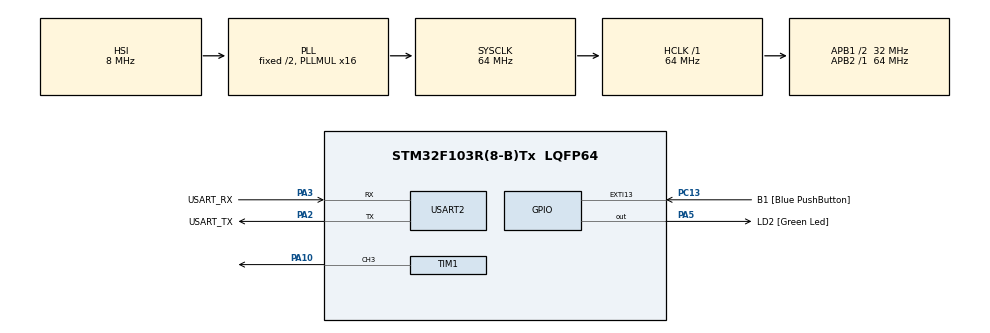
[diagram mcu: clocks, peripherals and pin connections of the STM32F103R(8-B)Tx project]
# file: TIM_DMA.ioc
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Dma.Request0=TIM1_CH3
Dma.TIM1_CH3.0.Direction=DMA_MEMORY_TO_PERIPH
Dma.TIM1_CH3.0.Instance=DMA1_Channel6
Dma.TIM1_CH3.0.MemDataAlignment=DMA_MDATAALIGN_WORD
Dma.TIM1_CH3.0.MemInc=DMA_MINC_ENABLE
Dma.TIM1_CH3.0.Mode=DMA_CIRCULAR
Dma.TIM1_CH3.0.PeriphDataAlignment=DMA_PDATAALIGN_WORD
Dma.TIM1_CH3.0.PeriphInc=DMA_PINC_DISABLE
Dma.TIM1_CH3.0.Priority=DMA_PRIORITY_HIGH
Mcu.Family=STM32F1
Mcu.Name=STM32F103R(8-B)Tx
Mcu.Package=LQFP64
NVIC.DMA1_Channel6_IRQn=true\:0\:0\:false\:false\:true\:false\:true\:true
NVIC.EXTI15_10_IRQn=true\:0\:0\:false\:false\:true\:true\:true\:true
NVIC.PriorityGroup=NVIC_PRIORITYGROUP_4
PA10.Signal=S_TIM1_CH3
PA13.GPIO_Label=TMS
PA13.Mode=Serial_Wire
PA13.Signal=SYS_JTMS-SWDIO
PA14.GPIO_Label=TCK
PA14.Mode=Serial_Wire
PA14.Signal=SYS_JTCK-SWCLK
PA2.GPIO_Label=USART_TX
PA2.GPIO_Mode=GPIO_MODE_AF_PP
PA2.GPIO_PuPd=GPIO_NOPULL
PA2.GPIO_Speed=GPIO_SPEED_FREQ_LOW
PA2.Mode=Asynchronous
PA2.Signal=USART2_TX
PA3.GPIO_Label=USART_RX
PA3.GPIO_Mode=GPIO_MODE_AF_PP
PA3.GPIO_PuPd=GPIO_NOPULL
PA3.GPIO_Speed=GPIO_SPEED_FREQ_LOW
PA3.Mode=Asynchronous
PA3.Signal=USART2_RX
PA5.GPIO_Label=LD2 [Green Led]
PA5.GPIO_ModeDefaultOutputPP=GPIO_MODE_OUTPUT_PP
PA5.GPIO_PuPd=GPIO_NOPULL
PA5.GPIO_Speed=GPIO_SPEED_FREQ_LOW
PA5.Signal=GPIO_Output
PB3.GPIO_Label=SWO
PB3.Signal=SYS_JTDO-TRACESWO
PC13-TAMPER-RTC.GPIO_Label=B1 [Blue PushButton]
PC13-TAMPER-RTC.GPIO_PuPd=GPIO_NOPULL
PC13-TAMPER-RTC.Signal=GPXTI13
PC14-OSC32_IN.Mode=LSE-External-Oscillator
PC14-OSC32_IN.Signal=RCC_OSC32_IN
PC15-OSC32_OUT.Mode=LSE-External-Oscillator
PC15-OSC32_OUT.Signal=RCC_OSC32_OUT
PD0-OSC_IN.Mode=HSE-External-Clock-Source
PD0-OSC_IN.Signal=RCC_OSC_IN
PD1-OSC_OUT.Mode=HSE-External-Clock-Source
PD1-OSC_OUT.Signal=RCC_OSC_OUT
ProjectManager.HeapSize=0x200
ProjectManager.StackSize=0x400
ProjectManager.TargetToolchain=STM32CubeIDE
RCC.AHBFreq_Value=64000000
RCC.APB1CLKDivider=RCC_HCLK_DIV2
RCC.APB1Freq_Value=32000000
RCC.APB1TimFreq_Value=64000000
RCC.APB2Freq_Value=64000000
RCC.APB2TimFreq_Value=64000000
RCC.HCLKFreq_Value=64000000
RCC.PLLMUL=RCC_PLL_MUL16
RCC.RTCClockSelection=RCC_RTCCLKSOURCE_LSE
RCC.SYSCLKFreq_VALUE=64000000
RCC.SYSCLKSource=RCC_SYSCLKSOURCE_PLLCLK
RCC.USBFreq_Value=64000000
SH.S_TIM1_CH3.0=TIM1_CH3,PWM Generation3 CH3
TIM1.AutoReloadPreload=TIM_AUTORELOAD_PRELOAD_DISABLE
TIM1.Channel-PWM\ Generation3\ CH3=TIM_CHANNEL_3
TIM1.OC3Preload_PWM=DISABLE
TIM1.Period=3641
TIM1.Pulse-PWM\ Generation3\ CH3=2730
TIM1.RepetitionCounter=3
USART2.VirtualMode=VM_ASYNC
VP_TIM1_VS_ClockSourceINT.Mode=Internal
board=NUCLEO-F103RB

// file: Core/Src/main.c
/* USER CODE BEGIN Header */
/**
  ******************************************************************************
  * @file           : main.c
  * @brief          : Main program body
  ******************************************************************************
  * @attention
  *
  * Copyright (c) 2022 STMicroelectronics.
  * All rights reserved.
  *
  * This software is licensed under terms that can be found in the LICENSE file
  * in the root directory of this software component.
  * If no LICENSE file comes with this software, it is provided AS-IS.
  *
  ******************************************************************************
  */
/* USER CODE END Header */
#include "main.h"

/* USER CODE BEGIN Includes */
#include <stdio.h>
/* USER CODE END Includes */

TIM_HandleTypeDef htim1;
DMA_HandleTypeDef hdma_tim1_ch3;

UART_HandleTypeDef huart2;

/* USER CODE BEGIN PV */
/* Capture Compare buffer */
uint32_t aCCValue_Buffer[3] = {0, 0, 0};

/* Timer Period*/
uint32_t uwTimerPeriod  = 0;
/* USER CODE END PV */

void SystemClock_Config(void);
static void MX_GPIO_Init(void);
static void MX_DMA_Init(void);
static void MX_USART2_UART_Init(void);
static void MX_TIM1_Init(void);

/* USER CODE BEGIN 0 */
#ifdef __GNUC__
#define PUTCHAR_PROTOTYPE int __io_putchar(int ch)
#else
#define PUTCHAR_PROTOTYPE int fputc(int ch, FILE *f)
#endif /* __GNUC__ */

/**
* @brief  Retargets the C library printf function to the USART.
* @param  None
* @retval None
*/
PUTCHAR_PROTOTYPE
{
  /* Place your implementation of fputc here */
  /* e.g. write a character to the UART2 and Loop until the end of transmission */
  if (ch == '\n')
    HAL_UART_Transmit (&huart2, (uint8_t *) "\r", 1, 0xFFFF);

  HAL_UART_Transmit (&huart2, (uint8_t *) & ch, 1, 0xFFFF);

  return ch;
}
/* USER CODE END 0 */

int main(void)
{

  /* MCU Configuration--------------------------------------------------------*/

  /* Reset of all peripherals, Initializes the Flash interface and the Systick. */
  HAL_Init();

  /* Configure the system clock */
  SystemClock_Config();

  /* Initialize all configured peripherals */
  MX_GPIO_Init();
  MX_DMA_Init();
  MX_USART2_UART_Init();
  MX_TIM1_Init();
  /* USER CODE BEGIN 2 */
  /* Compute the value of ARR regiter to generate signal frequency at 17.57 Khz */
  uwTimerPeriod = (uint32_t)((SystemCoreClock / 17570) - 1);
  printf("TimerPeriod=%ld\n", uwTimerPeriod);
  /* Compute CCR1 value to generate a duty cycle at 75% */
  aCCValue_Buffer[0] = (uint32_t)(((uint32_t) 75 * (uwTimerPeriod - 1)) / 100);
  printf("aCCValue_Buffer=%ld\n", aCCValue_Buffer[0]);
  /* Compute CCR2 value to generate a duty cycle at 50% */
  aCCValue_Buffer[1] = (uint32_t)(((uint32_t) 50 * (uwTimerPeriod - 1)) / 100);
  /* Compute CCR3 value to generate a duty cycle at 25% */
  aCCValue_Buffer[2] = (uint32_t)(((uint32_t) 25 * (uwTimerPeriod - 1)) / 100);

  /*##-3- Start PWM signal generation in DMA mode ############################*/
  if (HAL_TIM_PWM_Start_DMA(&htim1, TIM_CHANNEL_3, aCCValue_Buffer, 3) != HAL_OK)
  {
    /* Starting Error */
    Error_Handler();
  }
  /* USER CODE END 2 */

  /* Infinite loop */
  /* USER CODE BEGIN WHILE */
  while (1)
  {
    HAL_GPIO_TogglePin(LD2_GPIO_Port, LD2_Pin);
    HAL_Delay(100);

    /* USER CODE END WHILE */

  }
}

void SystemClock_Config(void)
{
  RCC_OscInitTypeDef RCC_OscInitStruct = {0};
  RCC_ClkInitTypeDef RCC_ClkInitStruct = {0};

  /** Initializes the RCC Oscillators according to the specified parameters
  * in the RCC_OscInitTypeDef structure.
  */
  RCC_OscInitStruct.OscillatorType = RCC_OSCILLATORTYPE_HSI;
  RCC_OscInitStruct.HSIState = RCC_HSI_ON;
  RCC_OscInitStruct.HSICalibrationValue = RCC_HSICALIBRATION_DEFAULT;
  RCC_OscInitStruct.PLL.PLLState = RCC_PLL_ON;
  RCC_OscInitStruct.PLL.PLLSource = RCC_PLLSOURCE_HSI_DIV2;
  RCC_OscInitStruct.PLL.PLLMUL = RCC_PLL_MUL16;
  if (HAL_RCC_OscConfig(&RCC_OscInitStruct) != HAL_OK)
  {
    Error_Handler();
  }

  /** Initializes the CPU, AHB and APB buses clocks
  */
  RCC_ClkInitStruct.ClockType = RCC_CLOCKTYPE_HCLK|RCC_CLOCKTYPE_SYSCLK
                              |RCC_CLOCKTYPE_PCLK1|RCC_CLOCKTYPE_PCLK2;
  RCC_ClkInitStruct.SYSCLKSource = RCC_SYSCLKSOURCE_PLLCLK;
  RCC_ClkInitStruct.AHBCLKDivider = RCC_SYSCLK_DIV1;
  RCC_ClkInitStruct.APB1CLKDivider = RCC_HCLK_DIV2;
  RCC_ClkInitStruct.APB2CLKDivider = RCC_HCLK_DIV1;

  if (HAL_RCC_ClockConfig(&RCC_ClkInitStruct, FLASH_LATENCY_2) != HAL_OK)
  {
    Error_Handler();
  }
}

static void MX_TIM1_Init(void)
{

  TIM_ClockConfigTypeDef sClockSourceConfig = {0};
  TIM_MasterConfigTypeDef sMasterConfig = {0};
  TIM_OC_InitTypeDef sConfigOC = {0};
  TIM_BreakDeadTimeConfigTypeDef sBreakDeadTimeConfig = {0};

  htim1.Instance = TIM1;
  htim1.Init.Prescaler = 0;
  htim1.Init.CounterMode = TIM_COUNTERMODE_UP;
  htim1.Init.Period = 3641;
  htim1.Init.ClockDivision = TIM_CLOCKDIVISION_DIV1;
  htim1.Init.RepetitionCounter = 3;
  htim1.Init.AutoReloadPreload = TIM_AUTORELOAD_PRELOAD_DISABLE;
  if (HAL_TIM_Base_Init(&htim1) != HAL_OK)
  {
    Error_Handler();
  }
  sClockSourceConfig.ClockSource = TIM_CLOCKSOURCE_INTERNAL;
  if (HAL_TIM_ConfigClockSource(&htim1, &sClockSourceConfig) != HAL_OK)
  {
    Error_Handler();
  }
  if (HAL_TIM_PWM_Init(&htim1) != HAL_OK)
  {
    Error_Handler();
  }
  sMasterConfig.MasterOutputTrigger = TIM_TRGO_RESET;
  sMasterConfig.MasterSlaveMode = TIM_MASTERSLAVEMODE_DISABLE;
  if (HAL_TIMEx_MasterConfigSynchronization(&htim1, &sMasterConfig) != HAL_OK)
  {
    Error_Handler();
  }
  sConfigOC.OCMode = TIM_OCMODE_PWM1;
  sConfigOC.Pulse = 2730;
  sConfigOC.OCPolarity = TIM_OCPOLARITY_HIGH;
  sConfigOC.OCNPolarity = TIM_OCNPOLARITY_HIGH;
  sConfigOC.OCFastMode = TIM_OCFAST_DISABLE;
  sConfigOC.OCIdleState = TIM_OCIDLESTATE_RESET;
  sConfigOC.OCNIdleState = TIM_OCNIDLESTATE_RESET;
  if (HAL_TIM_PWM_ConfigChannel(&htim1, &sConfigOC, TIM_CHANNEL_3) != HAL_OK)
  {
    Error_Handler();
  }
  __HAL_TIM_DISABLE_OCxPRELOAD(&htim1, TIM_CHANNEL_3);
  sBreakDeadTimeConfig.OffStateRunMode = TIM_OSSR_DISABLE;
  sBreakDeadTimeConfig.OffStateIDLEMode = TIM_OSSI_DISABLE;
  sBreakDeadTimeConfig.LockLevel = TIM_LOCKLEVEL_OFF;
  sBreakDeadTimeConfig.DeadTime = 0;
  sBreakDeadTimeConfig.BreakState = TIM_BREAK_DISABLE;
  sBreakDeadTimeConfig.BreakPolarity = TIM_BREAKPOLARITY_HIGH;
  sBreakDeadTimeConfig.AutomaticOutput = TIM_AUTOMATICOUTPUT_DISABLE;
  if (HAL_TIMEx_ConfigBreakDeadTime(&htim1, &sBreakDeadTimeConfig) != HAL_OK)
  {
    Error_Handler();
  }
  HAL_TIM_MspPostInit(&htim1);

}

static void MX_USART2_UART_Init(void)
{

  huart2.Instance = USART2;
  huart2.Init.BaudRate = 115200;
  huart2.Init.WordLength = UART_WORDLENGTH_8B;
  huart2.Init.StopBits = UART_STOPBITS_1;
  huart2.Init.Parity = UART_PARITY_NONE;
  huart2.Init.Mode = UART_MODE_TX_RX;
  huart2.Init.HwFlowCtl = UART_HWCONTROL_NONE;
  huart2.Init.OverSampling = UART_OVERSAMPLING_16;
  if (HAL_UART_Init(&huart2) != HAL_OK)
  {
    Error_Handler();
  }

}

static void MX_DMA_Init(void)
{

  /* DMA controller clock enable */
  __HAL_RCC_DMA1_CLK_ENABLE();

  /* DMA interrupt init */
  /* DMA1_Channel6_IRQn interrupt configuration */
  HAL_NVIC_SetPriority(DMA1_Channel6_IRQn, 0, 0);
  HAL_NVIC_EnableIRQ(DMA1_Channel6_IRQn);

}

static void MX_GPIO_Init(void)
{
  GPIO_InitTypeDef GPIO_InitStruct = {0};

  /* GPIO Ports Clock Enable */
  __HAL_RCC_GPIOC_CLK_ENABLE();
  __HAL_RCC_GPIOD_CLK_ENABLE();
  __HAL_RCC_GPIOA_CLK_ENABLE();
  __HAL_RCC_GPIOB_CLK_ENABLE();

  /*Configure GPIO pin Output Level */
  HAL_GPIO_WritePin(LD2_GPIO_Port, LD2_Pin, GPIO_PIN_RESET);

  /*Configure GPIO pin : B1_Pin */
  GPIO_InitStruct.Pin = B1_Pin;
  GPIO_InitStruct.Mode = GPIO_MODE_IT_RISING;
  GPIO_InitStruct.Pull = GPIO_NOPULL;
  HAL_GPIO_Init(B1_GPIO_Port, &GPIO_InitStruct);

  /*Configure GPIO pin : LD2_Pin */
  GPIO_InitStruct.Pin = LD2_Pin;
  GPIO_InitStruct.Mode = GPIO_MODE_OUTPUT_PP;
  GPIO_InitStruct.Pull = GPIO_NOPULL;
  GPIO_InitStruct.Speed = GPIO_SPEED_FREQ_LOW;
  HAL_GPIO_Init(LD2_GPIO_Port, &GPIO_InitStruct);

  /* EXTI interrupt init*/
  HAL_NVIC_SetPriority(EXTI15_10_IRQn, 0, 0);
  HAL_NVIC_EnableIRQ(EXTI15_10_IRQn);

}

void Error_Handler(void)
{
  __disable_irq();
  while (1)
  {
  }
}
